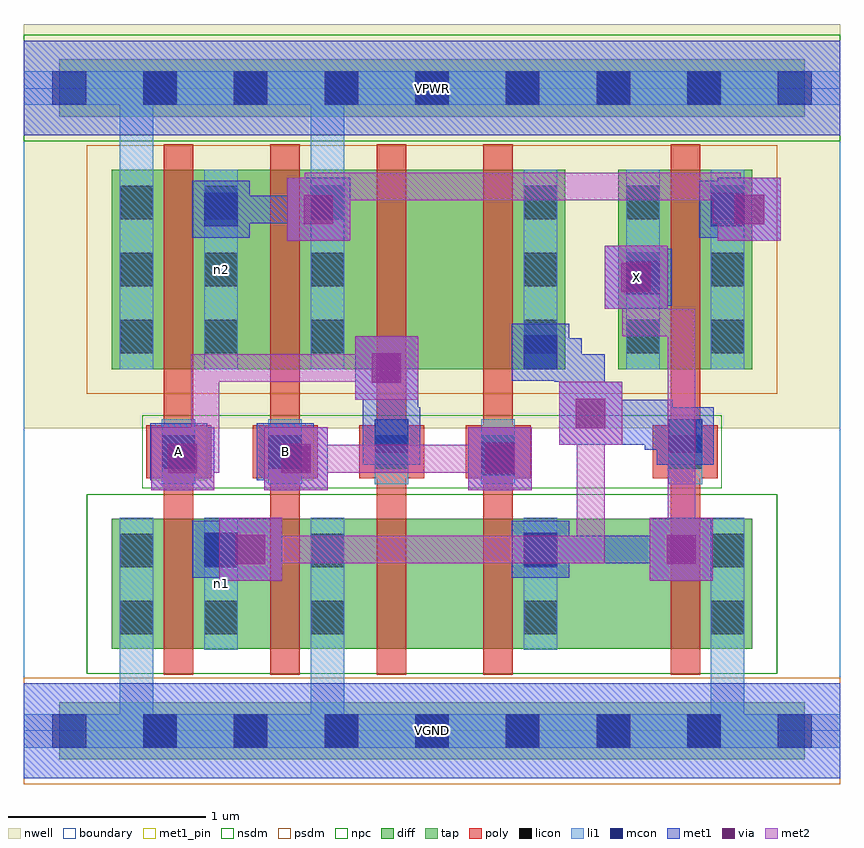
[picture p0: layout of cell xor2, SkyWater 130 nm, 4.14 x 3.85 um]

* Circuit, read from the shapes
.subckt xor2 A B VGND VPWR X n1 n2
XM1 n1 A VGND VGND sky130_fd_pr__nfet_01v8 w=0.66 l=0.15
XM2 VGND B n1 VGND sky130_fd_pr__nfet_01v8 w=0.66 l=0.15
XM3 n3 A VGND VGND sky130_fd_pr__nfet_01v8 w=0.66 l=0.15
XM4 X B n3 VGND sky130_fd_pr__nfet_01v8 w=0.66 l=0.15
XM5 VGND n1 X VGND sky130_fd_pr__nfet_01v8 w=0.66 l=0.15
XM6 n2 A VPWR VPWR sky130_fd_pr__pfet_01v8 w=1.01 l=0.15
XM7 VPWR B n2 VPWR sky130_fd_pr__pfet_01v8 w=1.01 l=0.15
XM8 n4 A VPWR VPWR sky130_fd_pr__pfet_01v8 w=1.01 l=0.15
XM9 n1 B n4 VPWR sky130_fd_pr__pfet_01v8 w=1.01 l=0.15
XM10 n2 n1 X VPWR sky130_fd_pr__pfet_01v8 w=1.01 l=0.15
.ends

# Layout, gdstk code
import gdstk
lib = gdstk.Library(unit=1e-6, precision=1e-09)
def R(c, l, rs):  # rectangles x0, y0, x1, y1
    for r in rs: c.add(gdstk.rectangle(r[:2], r[2:], *l))
def A(c, l, x, y, w, h, nx, ny, dx, dy):  # array of equal rectangles
    R(c, l, [(x+i*dx, y+j*dy, x+i*dx+w, y+j*dy+h) for i in range(nx) for j in range(ny)])
nwell = (64, 20)
diff = (65, 20)
tap = (65, 44)
poly = (66, 20)
licon = (66, 44)
li1 = (67, 20)
mcon = (67, 44)
met1_pin = (68, 16)
met1 = (68, 20)
via = (68, 44)
met2 = (69, 20)
nsdm = (93, 44)
psdm = (94, 20)
npc = (95, 20)
boundary = (235, 4)

xor2 = lib.new_cell('xor2')
R(xor2, nwell, [(0,1.535,4.14,3.585)])
R(xor2, diff, [(0.445,0.415,3.695,1.075), (0.445,1.835,2.745,2.845), (3.015,1.835,3.695,2.845)])
R(xor2, tap, [(0.18,-0.145,3.96,0.145), (0.18,3.115,3.96,3.405)])
A(xor2, poly, 0.71, 0.285, 0.15, 2.69, 4, 1, 0.54, 0)
A(xor2, poly, 0.62, 1.28, 0.33, 0.27, 4, 1, 0.54, 0)
R(xor2, poly, [(3.28,0.285,3.43,2.975), (3.19,1.28,3.52,1.55)])
A(xor2, licon, 0.605, -0.085, 0.17, 0.17, 7, 2, 0.46, 3.26)
A(xor2, licon, 0.7, 1.33, 0.17, 0.17, 4, 1, 0.54, 0)
A(xor2, licon, 0.485, 1.915, 0.17, 0.17, 1, 3, 0, 0.34)
A(xor2, licon, 0.915, 1.915, 0.17, 0.17, 1, 3, 0, 0.34)
A(xor2, licon, 1.455, 1.915, 0.17, 0.17, 1, 3, 0, 0.34)
A(xor2, licon, 2.535, 1.915, 0.17, 0.17, 1, 3, 0, 0.34)
A(xor2, licon, 3.055, 1.915, 0.17, 0.17, 1, 3, 0, 0.34)
A(xor2, licon, 3.485, 1.915, 0.17, 0.17, 1, 3, 0, 0.34)
R(xor2, licon, [(0.485,0.49,0.655,0.66), (0.915,0.49,1.085,0.66), (1.455,0.49,1.625,0.66), (2.535,0.49,2.705,0.66), (3.485,0.49,3.655,0.66), (0.485,0.83,0.655,1), (0.915,0.83,1.085,1), (1.455,0.83,1.625,1), (2.535,0.83,2.705,1), (3.485,0.83,3.655,1), (3.27,1.33,3.44,1.5)])
A(xor2, li1, 0.7, 1.25, 0.17, 0.33, 4, 1, 0.54, 0)
R(xor2, li1, [(0,-0.085,4.14,0.085), (0.485,-0.085,0.655,1.08), (1.455,-0.085,1.625,1.08), (3.485,-0.085,3.655,1.08), (0.485,0.41,0.655,1.08), (0.915,0.41,1.085,1.08), (1.455,0.41,1.625,1.08), (2.535,0.41,2.705,1.08), (3.485,0.41,3.655,1.08), (3.27,1.25,3.44,1.58), (0.485,1.835,0.655,2.845), (0.485,1.835,0.655,3.345), (0.915,1.835,1.085,2.845), (1.455,1.835,1.625,2.845), (1.455,1.835,1.625,3.345), (2.535,1.835,2.705,2.845), (3.055,1.835,3.225,2.845), (3.485,1.835,3.655,2.845), (0,3.175,4.14,3.345)])
A(xor2, mcon, 0.145, -0.085, 0.17, 0.17, 9, 2, 0.46, 3.26)
R(xor2, mcon, [(0.915,0.835,1.085,1.005), (2.535,0.835,2.705,1.005), (2.32,1.295,2.49,1.465), (0.7,1.33,0.87,1.5), (1.24,1.33,1.41,1.5), (1.78,1.41,1.95,1.58), (3.27,1.41,3.44,1.58), (2.535,1.835,2.705,2.005), (3.055,2.215,3.225,2.385), (0.915,2.56,1.085,2.73), (3.485,2.56,3.655,2.73)])
R(xor2, met1_pin, [(0,-0.24,4.14,0.24), (0.64,1.27,0.93,1.56), (1.18,1.27,1.47,1.56), (2.945,2.14,3.265,2.46), (0,3.02,4.14,3.5)])
R(xor2, met1, [(0,-0.24,4.14,0.24), (0.99,0.76,1.31,1.08), (3.175,0.76,3.495,1.08), (0.855,0.775,1.145,1.065), (2.475,0.775,2.765,1.065), (0.93,0.85,1.22,0.99), (2.55,0.85,2.83,0.99), (2.69,0.85,3.405,0.99), (0.645,1.22,0.965,1.54), (1.22,1.22,1.54,1.54), (2.255,1.22,2.575,1.54), (2.26,1.235,2.55,1.525), (0.64,1.27,0.93,1.56), (1.18,1.27,1.47,1.56), (0.735,1.31,0.875,1.45), (1.31,1.31,1.45,1.45), (2.335,1.31,2.485,1.45), (1.72,1.35,2.01,1.64), (3.21,1.35,3.5,1.64), (1.77,1.425,1.91,1.68), (1.77,1.425,1.935,1.565), (3.15,1.425,3.425,1.565), (3.15,1.425,3.29,1.68), (2.715,1.45,3.035,1.77), (3.035,1.45,3.15,1.565), (3.035,1.45,3.15,1.68), (1.77,1.54,1.91,1.91), (2.805,1.54,3.29,1.68), (2.805,1.54,2.945,1.91), (1.77,1.565,1.935,1.68), (1.72,1.64,2,1.68), (1.68,1.68,2,2), (2.69,1.77,2.83,1.99), (2.69,1.77,2.945,1.91), (2.475,1.775,2.765,2.065), (2.55,1.85,2.83,1.99), (2.945,2.14,3.265,2.46), (2.995,2.155,3.285,2.445), (3.035,2.23,3.21,2.37), (1.335,2.485,1.655,2.805), (3.52,2.485,3.84,2.805), (0.855,2.5,1.145,2.79), (3.425,2.5,3.715,2.79), (0.93,2.575,1.22,2.715), (1.08,2.575,1.565,2.715), (3.5,2.575,3.75,2.715), (0,3.02,4.14,3.5)])
R(xor2, via, [(1.075,0.845,1.225,0.995), (3.26,0.845,3.41,0.995), (0.73,1.305,0.88,1.455), (1.305,1.305,1.455,1.455), (2.34,1.305,2.49,1.455), (2.8,1.535,2.95,1.685), (1.765,1.765,1.915,1.915), (3.03,2.225,3.18,2.375), (1.42,2.57,1.57,2.72), (3.605,2.57,3.755,2.72)])
R(xor2, met2, [(0.99,0.76,1.31,1.08), (3.175,0.76,3.495,1.08), (1.08,0.85,2.945,0.99), (2.805,0.85,2.945,1.68), (3.265,0.85,3.405,2.14), (0.645,1.22,0.965,1.54), (1.22,1.22,1.54,1.54), (2.255,1.22,2.575,1.54), (0.735,1.31,0.99,1.45), (0.85,1.31,0.99,1.91), (1.31,1.31,2.485,1.45), (2.715,1.45,3.035,1.77), (1.68,1.68,2,2), (0.85,1.77,1.91,1.91), (3.035,2,3.175,2.37), (3.035,2,3.405,2.14), (2.945,2.14,3.265,2.46), (1.335,2.485,1.655,2.805), (3.52,2.485,3.84,2.805), (1.425,2.575,1.565,2.83), (3.495,2.575,3.75,2.715), (3.495,2.575,3.635,2.83), (1.425,2.69,3.635,2.83)])
R(xor2, nsdm, [(0.32,0.29,3.82,1.2), (0,2.99,4.14,3.53)])
R(xor2, psdm, [(0,-0.27,4.14,0.27), (0.32,1.71,3.82,2.97)])
R(xor2, npc, [(0.6,1.23,3.54,1.6)])
R(xor2, boundary, [(0,0,4.14,3.26)])
xor2.add(gdstk.Label('n1', (1,0.745), layer=67, texttype=5))
xor2.add(gdstk.Label('n2', (1,2.34), layer=67, texttype=5))
xor2.add(gdstk.Label('A', (0.785,1.415), layer=68, texttype=5))
xor2.add(gdstk.Label('B', (1.325,1.415), layer=68, texttype=5))
xor2.add(gdstk.Label('X', (3.105,2.3), layer=68, texttype=5))
xor2.add(gdstk.Label('VPWR', (2.07,3.26), layer=68, texttype=5))
xor2.add(gdstk.Label('VGND', (2.07,0), layer=68, texttype=5))
xor2.add(gdstk.Label('A', (0.785,1.415), layer=68, texttype=16))
xor2.add(gdstk.Label('B', (1.325,1.415), layer=68, texttype=16))
xor2.add(gdstk.Label('X', (3.105,2.3), layer=68, texttype=16))
xor2.add(gdstk.Label('VPWR', (2.07,3.26), layer=68, texttype=16))
xor2.add(gdstk.Label('VGND', (2.07,0), layer=68, texttype=16))

lib.write_gds('xor2.gds')
